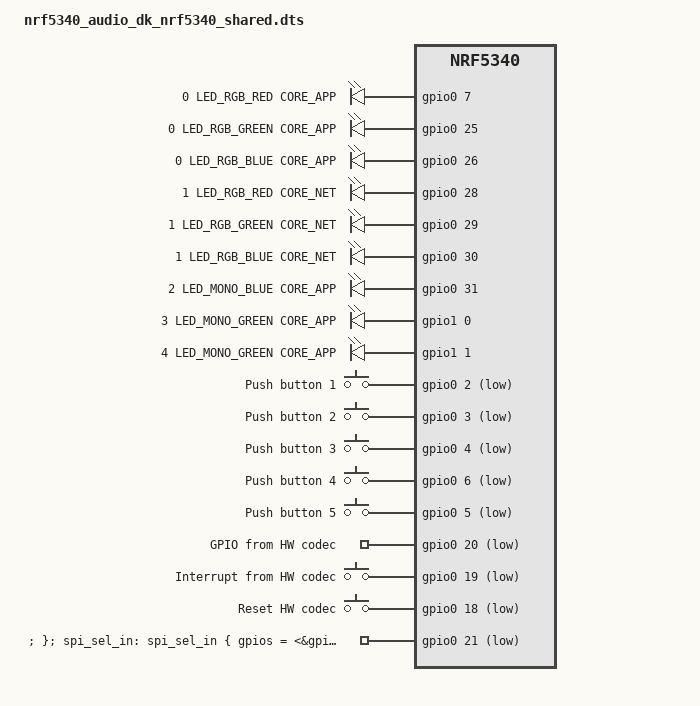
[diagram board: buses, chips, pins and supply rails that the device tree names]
/ {
leds:	leds {
		compatible = "gpio-leds";
		rgb1_red: led_0 {
			gpios = <&gpio0 7 GPIO_ACTIVE_HIGH>;
			label = "0 LED_RGB_RED CORE_APP";
		};
		rgb1_green: led_1 {
			gpios = <&gpio0 25 GPIO_ACTIVE_HIGH>;
			label = "0 LED_RGB_GREEN CORE_APP";
		};
		rgb1_blue: led_2 {
			gpios = <&gpio0 26 GPIO_ACTIVE_HIGH>;
			label = "0 LED_RGB_BLUE CORE_APP";
		};
		rgb2_red: led_3 {
			gpios = <&gpio0 28 GPIO_ACTIVE_HIGH>;
			label = "1 LED_RGB_RED CORE_NET";
		};
		rgb2_green: led_4 {
			gpios = <&gpio0 29 GPIO_ACTIVE_HIGH>;
			label = "1 LED_RGB_GREEN CORE_NET";
		};
		rgb2_blue: led_5 {
			gpios = <&gpio0 30 GPIO_ACTIVE_HIGH>;
			label = "1 LED_RGB_BLUE CORE_NET";
		};
		led1_blue: led_6 {
			gpios = <&gpio0 31 GPIO_ACTIVE_HIGH>;
			label = "2 LED_MONO_BLUE CORE_APP";
		};
		led2_green: led_7 {
			gpios = <&gpio1 0 GPIO_ACTIVE_HIGH>;
			label = "3 LED_MONO_GREEN CORE_APP";
		};
		led3_green: led_8 {
			gpios = <&gpio1 1 GPIO_ACTIVE_HIGH>;
			label = "4 LED_MONO_GREEN CORE_APP";
		};

	};

	buttons {
		compatible = "gpio-keys";
		button_1_vol_dn: button_1_vol_dn {
			gpios = <&gpio0 2 (GPIO_PULL_UP | GPIO_ACTIVE_LOW)>;
			label = "Push button 1";
		};
		button_2_vol_up: button_2_vol_up {
			gpios = <&gpio0 3 (GPIO_PULL_UP | GPIO_ACTIVE_LOW)>;
			label = "Push button 2";
		};
		button3: button_3 {
			gpios = <&gpio0 4 (GPIO_PULL_UP | GPIO_ACTIVE_LOW)>;
			label = "Push button 3";
		};
		button4: button_4 {
			gpios = <&gpio0 6 (GPIO_PULL_UP | GPIO_ACTIVE_LOW)>;
			label = "Push button 4";
		};
		button5: button_5 {
			gpios = <&gpio0 5 (GPIO_PULL_UP | GPIO_ACTIVE_LOW)>;
			label = "Push button 5";
		};
	};

	nrf5340_audio_dk {
		compatible = "gpio-keys";
		hw_codec_gpio_in: hw_codec_gpio_in {
			gpios = <&gpio0 20 GPIO_ACTIVE_LOW>;
			label = "GPIO from HW codec";
		};

		hw_codec_irq_in: hw_codec_irq_in {
			gpios = <&gpio0 19 GPIO_ACTIVE_LOW>;
			label = "Interrupt from HW codec";
		};

		hw_codec_reset_out: hw_codec_reset_out {
			gpios = <&gpio0 18 GPIO_ACTIVE_LOW>;
			label = "Reset HW codec";
		};

		hw_codec_sel_out: hw_codec_sel_out {
			gpios = <&gpio0 21 GPIO_ACTIVE_LOW>;
			label = "HW codec selector. Low selects OB HW codec, high \
				 selects external HW codec";
		};

		spi_sel_in: spi_sel_in {
			gpios = <&gpio0 22 GPIO_ACTIVE_LOW>;
			label = "SPI select in. High = nRF SPI to HW codec. \
				 Low = FTDI to HW codec";
		};

		pmic_iset_out: pmic_iset_out {
			gpios = <&gpio0 23 GPIO_ACTIVE_HIGH>;
			label = "PMIC ISET";
		};

		board_id_en_out: board_id_en_out {
			gpios = <&gpio0 24 GPIO_ACTIVE_HIGH>;
			label = "Board revision readback enable";
		};

		board_id_in: board_id_in {
			gpios = <&gpio0 27 GPIO_ACTIVE_HIGH>;
			label = "Board revision analog readback";
		};

		curr_mon_alert_in: curr_mon_alert_in {
			gpios = <&gpio1 15 GPIO_ACTIVE_LOW>;
			label = "Curr mon alert in from INA231";
		};
	};

	aliases {
		led0 = &rgb1_red;
		led1 = &rgb1_green;
		led2 = &rgb1_blue;
		led3 = &rgb2_red;
		led4 = &rgb2_green;
		led5 = &rgb2_blue;
		led6 = &led1_blue;
		led7 = &led2_green;
		led8 = &led3_green;
		sw0 = &button_1_vol_dn;
		sw1 = &button_2_vol_up;
		sw2 = &button3;
		sw3 = &button4;
		sw4 = &button5;
	};
};
